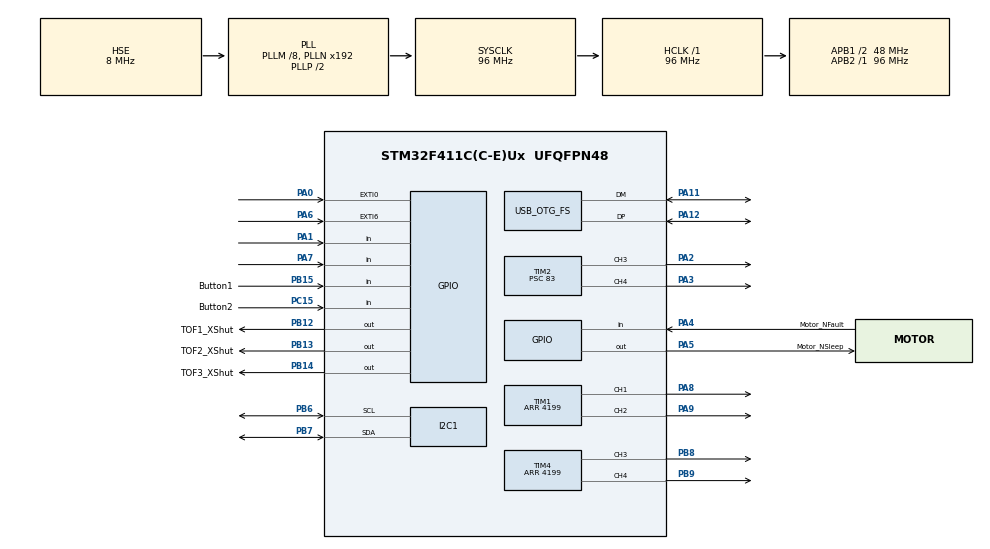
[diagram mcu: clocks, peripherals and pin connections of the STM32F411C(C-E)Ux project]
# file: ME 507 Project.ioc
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I2C1.I2C_Mode=I2C_Fast
Mcu.Family=STM32F4
Mcu.Name=STM32F411C(C-E)Ux
Mcu.Package=UFQFPN48
NVIC.OTG_FS_IRQn=true\:0\:0\:false\:false\:true\:false\:true\:true
NVIC.PriorityGroup=NVIC_PRIORITYGROUP_4
PA0-WKUP.Signal=GPXTI0
PA1.Signal=GPIO_Input
PA11.Mode=Device_Only
PA11.Signal=USB_OTG_FS_DM
PA12.Mode=Device_Only
PA12.Signal=USB_OTG_FS_DP
PA13.GPIO_Label=SWDIO
PA13.Mode=Serial_Wire
PA13.Signal=SYS_JTMS-SWDIO
PA14.GPIO_Label=SWCLK
PA14.Mode=Serial_Wire
PA14.Signal=SYS_JTCK-SWCLK
PA2.Signal=S_TIM2_CH3
PA3.Signal=S_TIM2_CH4
PA4.GPIO_Label=Motor_NFault
PA4.GPIO_PuPd=GPIO_PULLUP
PA4.Signal=GPIO_Input
PA5.GPIO_Label=Motor_NSleep
PA5.PinState=GPIO_PIN_SET
PA5.Signal=GPIO_Output
PA6.Signal=GPXTI6
PA7.Signal=GPIO_Input
PA8.Signal=S_TIM1_CH1
PA9.Signal=S_TIM1_CH2
PB12.GPIO_Label=TOF1_XShut
PB12.Signal=GPIO_Output
PB13.GPIO_Label=TOF2_XShut
PB13.Signal=GPIO_Output
PB14.GPIO_Label=TOF3_XShut
PB14.Signal=GPIO_Output
PB15.GPIO_Label=Button1
PB15.GPIO_PuPd=GPIO_PULLUP
PB15.Signal=GPIO_Input
PB6.Mode=I2C
PB6.Signal=I2C1_SCL
PB7.Mode=I2C
PB7.Signal=I2C1_SDA
PB8.Signal=S_TIM4_CH3
PB9.Signal=S_TIM4_CH4
PC15-OSC32_OUT.GPIO_Label=Button2
PC15-OSC32_OUT.GPIO_PuPd=GPIO_PULLUP
PC15-OSC32_OUT.Signal=GPIO_Input
PH0\ -\ OSC_IN.Mode=HSE-External-Oscillator
PH0\ -\ OSC_IN.Signal=RCC_OSC_IN
PH1\ -\ OSC_OUT.Mode=HSE-External-Oscillator
PH1\ -\ OSC_OUT.Signal=RCC_OSC_OUT
ProjectManager.HeapSize=0x200
ProjectManager.StackSize=0x400
ProjectManager.TargetToolchain=STM32CubeIDE
RCC.48MHZClocksFreq_Value=48000000
RCC.AHBFreq_Value=96000000
RCC.APB1CLKDivider=RCC_HCLK_DIV2
RCC.APB1Freq_Value=48000000
RCC.APB1TimFreq_Value=96000000
RCC.APB2Freq_Value=96000000
RCC.APB2TimFreq_Value=96000000
RCC.CortexFreq_Value=96000000
RCC.HCLKFreq_Value=96000000
RCC.HSE_VALUE=8000000
RCC.HSI_VALUE=16000000
RCC.LSE_VALUE=32768
RCC.PLLM=8
RCC.SYSCLKFreq_VALUE=96000000
RCC.SYSCLKSource=RCC_SYSCLKSOURCE_PLLCLK
RCC.VCOOutputFreq_Value=192000000
SH.S_TIM1_CH1.0=TIM1_CH1,PWM Generation1 CH1
SH.S_TIM1_CH2.0=TIM1_CH2,PWM Generation2 CH2
SH.S_TIM2_CH3.0=TIM2_CH3,PWM Generation3 CH3
SH.S_TIM2_CH4.0=TIM2_CH4,PWM Generation4 CH4
SH.S_TIM4_CH3.0=TIM4_CH3,PWM Generation3 CH3
SH.S_TIM4_CH4.0=TIM4_CH4,PWM Generation4 CH4
TIM1.AutoReloadPreload=TIM_AUTORELOAD_PRELOAD_ENABLE
TIM1.Channel-PWM\ Generation1\ CH1=TIM_CHANNEL_1
TIM1.Channel-PWM\ Generation2\ CH2=TIM_CHANNEL_2
TIM1.Period=4199
TIM2.AutoReloadPreload=TIM_AUTORELOAD_PRELOAD_ENABLE
TIM2.Channel-PWM\ Generation3\ CH3=TIM_CHANNEL_3
TIM2.Channel-PWM\ Generation4\ CH4=TIM_CHANNEL_4
TIM2.Period=19999
TIM2.Prescaler=83
TIM2.Pulse-PWM\ Generation3\ CH3=1500
TIM2.Pulse-PWM\ Generation4\ CH4=1500
TIM4.AutoReloadPreload=TIM_AUTORELOAD_PRELOAD_ENABLE
TIM4.Channel-PWM\ Generation3\ CH3=TIM_CHANNEL_3
TIM4.Channel-PWM\ Generation4\ CH4=TIM_CHANNEL_4
TIM4.Period=4199
USB_DEVICE.CLASS_NAME_FS=CDC
USB_DEVICE.VirtualMode=Cdc
USB_DEVICE.VirtualModeFS=Cdc_FS
USB_OTG_FS.VirtualMode=Device_Only
VP_USB_DEVICE_VS_USB_DEVICE_CDC_FS.Mode=CDC_FS
board=custom

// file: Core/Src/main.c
/* USER CODE BEGIN Header */
/**
  ******************************************************************************
  * @file           : main.c
  * @brief          : Main program body
  ******************************************************************************
  */
/* USER CODE END Header */

#include "main.h"
#include "usb_device.h"

/* USER CODE BEGIN Includes */
#include "motor.h"
#include "servo.h"
#include "usbd_cdc_if.h"
#include "task_distance.h"
#include "usb_print.h"
#include "screen.h"
#include "servo.h"

#include <string.h>
#include <stdio.h>
#include <stdarg.h>
/* USER CODE END Includes */

/* USER CODE BEGIN PD */

#define ENABLE_MOTOR_SERVO_INIT 0

/* USER CODE END PD */

I2C_HandleTypeDef hi2c1;

TIM_HandleTypeDef htim1;
TIM_HandleTypeDef htim2;
TIM_HandleTypeDef htim4;

/* USER CODE BEGIN PV */

static motor_t left_motor =
{
    .timer = &htim1,
    .channel1 = TIM_CHANNEL_1,
    .channel2 = TIM_CHANNEL_2,
    .pwm_max = 4199
};

static motor_t right_motor =
{
    .timer = &htim4,
    .channel1 = TIM_CHANNEL_3,
    .channel2 = TIM_CHANNEL_4,
    .pwm_max = 4199
};

static Servo_t left_servo =
{
    .htim = &htim2,
    .channel = TIM_CHANNEL_3,
    .angle = 90
};

static Servo_t right_servo =
{
    .htim = &htim2,
    .channel = TIM_CHANNEL_4,
    .angle = 90
};

volatile int32_t left_encoder_count = 0;
volatile int32_t right_encoder_count = 0;

/* USER CODE END PV */

void SystemClock_Config(void);
static void MX_GPIO_Init(void);
static void MX_I2C1_Init(void);
static void MX_TIM1_Init(void);
static void MX_TIM2_Init(void);
static void MX_TIM4_Init(void);
/* USER CODE BEGIN PFP */
static void Debug_XSHUT_GPIO_After_USB_Start(void);
/* USER CODE END PFP */

/* USER CODE BEGIN 0 */

static void Debug_XSHUT_GPIO_After_USB_Start(void)
{
    HAL_GPIO_WritePin(TOF1_XShut_GPIO_Port, TOF1_XShut_Pin, GPIO_PIN_RESET);
    HAL_GPIO_WritePin(TOF2_XShut_GPIO_Port, TOF2_XShut_Pin, GPIO_PIN_RESET);
    HAL_Delay(100);

    USB_Printf("XSHUT low readback: TOF1=%d TOF2=%d\r\n",
               HAL_GPIO_ReadPin(TOF1_XShut_GPIO_Port, TOF1_XShut_Pin),
               HAL_GPIO_ReadPin(TOF2_XShut_GPIO_Port, TOF2_XShut_Pin));

    HAL_GPIO_WritePin(TOF1_XShut_GPIO_Port, TOF1_XShut_Pin, GPIO_PIN_SET);
    HAL_GPIO_WritePin(TOF2_XShut_GPIO_Port, TOF2_XShut_Pin, GPIO_PIN_SET);
    HAL_Delay(100);

    USB_Printf("XSHUT high readback: TOF1=%d TOF2=%d\r\n",
               HAL_GPIO_ReadPin(TOF1_XShut_GPIO_Port, TOF1_XShut_Pin),
               HAL_GPIO_ReadPin(TOF2_XShut_GPIO_Port, TOF2_XShut_Pin));

    HAL_GPIO_WritePin(TOF1_XShut_GPIO_Port, TOF1_XShut_Pin, GPIO_PIN_RESET);
    HAL_GPIO_WritePin(TOF2_XShut_GPIO_Port, TOF2_XShut_Pin, GPIO_PIN_RESET);
    HAL_Delay(150);
}

/**
 * @brief Runs sleep mode behavior.
 *
 * Stops normal interaction by showing sleeping eyes and lowering the llama ears.
 */
static void mode_sleep(void)
{
	screen_AnimateSleepEyes();
	Servo_Ears_Down(&left_servo, &right_servo);

}

/**
 * @brief Runs pet mode behavior.
 *
 * Displays happy eyes and wiggles the llama ears.
 */
static void mode_pet(void)
{
	screen_AnimatePetEyes();
	Servo_WiggleEars(&left_servo, &right_servo);

}

/**
 * @brief Runs normal wonder mode behavior.
 *
 * Displays animated eyes and raises the llama ears.
 */
static void mode_wonder(void)
{
	screen_AnimateEyes();
	Servo_Ears_Up(&left_servo, &right_servo);

}

/**
 * @brief Runs falling or edge-detection behavior.
 *
 * Displays a scared face and raises the ears in an alert position.
 */
static void mode_falling(void)
{
	screen_AnimateScaredFace();
	Servo_Ears_Up(&left_servo, &right_servo);

}
/**
 * @brief Reads the active-low user switch with debounce.
 *
 * @return 1 if the switch is pressed, 0 otherwise.
 */
static uint8_t Switch_IsOn(void)

    if (HAL_GPIO_ReadPin(Button1_GPIO_Port, Button1_Pin) == GPIO_PIN_RESET)
    {
        HAL_Delay(20);

        if (HAL_GPIO_ReadPin(Button1_GPIO_Port, Button1_Pin) == GPIO_PIN_RESET)
        {
            return 1;
        }
    }

    return 0;
}

/* USER CODE END 0 */

#define CONTROL_DT_MS 20
#define LEFT_TARGET_CPS  250.0f
#define RIGHT_TARGET_CPS 250.0f
#define KP 1.2f
#define KI 0.08f

static float left_cmd = 50.0f;
static float right_cmd = 50.0f;
static float left_integral = 0.0f;
static float right_integral = 0.0f;

/**
 * @brief Updates closed-loop motor speed control.
 *
 * Estimates wheel speed using encoder count changes and adjusts motor PWM
 * using a PI controller.
 *
 * @param left_target_cps Desired left wheel speed in encoder counts per second.
 * @param right_target_cps Desired right wheel speed in encoder counts per second.
 */
static void Motor_ClosedLoop_Update(float left_target_cps, float right_target_cps)
    static uint32_t last_time = 0;
    static int32_t last_left_count = 0;
    static int32_t last_right_count = 0;

    uint32_t now = HAL_GetTick();

    if (last_time == 0)
    {
        last_time = now;
        last_left_count = left_encoder_count;
        last_right_count = right_encoder_count;
        return;
    }

    if (now - last_time < CONTROL_DT_MS)
        return;

    int32_t left_now = left_encoder_count;
    int32_t right_now = right_encoder_count;

    int32_t left_delta = left_now - last_left_count;
    int32_t right_delta = right_now - last_right_count;

    float dt = (now - last_time) / 1000.0f;

    float left_speed = left_delta / dt;
    float right_speed = right_delta / dt;

    float left_error = left_target_cps - left_speed;
    float right_error = right_target_cps - right_speed;

    left_integral += left_error * dt;
    right_integral += right_error * dt;

    left_cmd += KP * left_error + KI * left_integral;
    right_cmd += KP * right_error + KI * right_integral;

    if (left_cmd > 100.0f) left_cmd = 100.0f;
    if (left_cmd < -100.0f) left_cmd = -100.0f;
    if (right_cmd > 100.0f) right_cmd = 100.0f;
    if (right_cmd < -100.0f) right_cmd = -100.0f;

    Motor_Set_Duty(&left_motor, left_cmd);
    Motor_Set_Duty(&right_motor, right_cmd);

    last_left_count = left_now;
    last_right_count = right_now;
    last_time = now;
}

/**
 * @brief Resets the closed-loop motor controller.
 *
 * Clears integral terms and restores initial motor command values.
 */
static void Motor_ClosedLoop_Reset(void)
{
    left_integral = 0.0f;
    right_integral = 0.0f;
    left_cmd = 50.0f;
    right_cmd = 50.0f;
}

int main(void)
{
  HAL_Init();

  SystemClock_Config();

  MX_GPIO_Init();
  MX_I2C1_Init();
  MX_TIM1_Init();
  MX_TIM2_Init();
  MX_TIM4_Init();

  /* USER CODE BEGIN 2 */
	#if USB_DEBUG_ENABLED
	  MX_USB_DEVICE_Init();
	  HAL_Delay(1500);
	  USB_Print("\r\nUSB CDC started\r\n");
	#endif

  task_distance_initialize();

  Motor_Init(&left_motor);
  Motor_Init(&right_motor);
  Motor_Enable();

  Servo_Init(&left_servo);
  Servo_SetAngle(&left_servo, 180);
  Servo_Init(&right_servo);
  Servo_SetAngle(&right_servo, 0);

  screen_Init(&hi2c1);
  /* USER CODE END 2 */

  while (1)
  {
	    if (Switch_IsOn())
	    {
	    	mode_sleep();
	    	Motor_Set_Duty(&left_motor, 0.0f);
	    	Motor_Set_Duty(&right_motor, 0.0f);
	    	continue;
	    }
	    TOF_Measurement_t tof1_measure;
	    TOF_Measurement_t tof2_measure;

	    TOF_ReadTwo(&tof1_measure, &tof2_measure);
	    if (tof2_measure.distance_mm < 60)
	    {
	    	mode_pet();
	    	continue;
	    } else if(tof1_measure.distance_mm > 200 || tof2_measure.distance_mm > 200)
	    {
	    	mode_falling();
        Motor_ClosedLoop_Reset();
        Motor_Set_Duty(&left_motor, -100.0f);
        Motor_Set_Duty(&right_motor, 100.0f);
	    	continue;
	    }
	    mode_wonder();
      Motor_ClosedLoop_Update(LEFT_TARGET_CPS, RIGHT_TARGET_CPS);

	    HAL_Delay(10);
  }
}

void SystemClock_Config(void)
{
  RCC_OscInitTypeDef RCC_OscInitStruct = {0};
  RCC_ClkInitTypeDef RCC_ClkInitStruct = {0};

  __HAL_RCC_PWR_CLK_ENABLE();
  __HAL_PWR_VOLTAGESCALING_CONFIG(PWR_REGULATOR_VOLTAGE_SCALE1);

  RCC_OscInitStruct.OscillatorType = RCC_OSCILLATORTYPE_HSE;
  RCC_OscInitStruct.HSEState = RCC_HSE_ON;
  RCC_OscInitStruct.PLL.PLLState = RCC_PLL_ON;
  RCC_OscInitStruct.PLL.PLLSource = RCC_PLLSOURCE_HSE;
  RCC_OscInitStruct.PLL.PLLM = 8;
  RCC_OscInitStruct.PLL.PLLN = 192;
  RCC_OscInitStruct.PLL.PLLP = RCC_PLLP_DIV2;
  RCC_OscInitStruct.PLL.PLLQ = 4;
  if (HAL_RCC_OscConfig(&RCC_OscInitStruct) != HAL_OK)
  {
    Error_Handler();
  }

  RCC_ClkInitStruct.ClockType = RCC_CLOCKTYPE_HCLK | RCC_CLOCKTYPE_SYSCLK
                              | RCC_CLOCKTYPE_PCLK1 | RCC_CLOCKTYPE_PCLK2;
  RCC_ClkInitStruct.SYSCLKSource = RCC_SYSCLKSOURCE_PLLCLK;
  RCC_ClkInitStruct.AHBCLKDivider = RCC_SYSCLK_DIV1;
  RCC_ClkInitStruct.APB1CLKDivider = RCC_HCLK_DIV2;
  RCC_ClkInitStruct.APB2CLKDivider = RCC_HCLK_DIV1;

  if (HAL_RCC_ClockConfig(&RCC_ClkInitStruct, FLASH_LATENCY_3) != HAL_OK)
  {
    Error_Handler();
  }
}

static void MX_I2C1_Init(void)
{
  hi2c1.Instance = I2C1;
  hi2c1.Init.ClockSpeed = 400000;
  hi2c1.Init.DutyCycle = I2C_DUTYCYCLE_2;
  hi2c1.Init.OwnAddress1 = 0;
  hi2c1.Init.AddressingMode = I2C_ADDRESSINGMODE_7BIT;
  hi2c1.Init.DualAddressMode = I2C_DUALADDRESS_DISABLE;
  hi2c1.Init.OwnAddress2 = 0;
  hi2c1.Init.GeneralCallMode = I2C_GENERALCALL_DISABLE;
  hi2c1.Init.NoStretchMode = I2C_NOSTRETCH_DISABLE;
  if (HAL_I2C_Init(&hi2c1) != HAL_OK)
  {
    Error_Handler();
  }
}

static void MX_TIM1_Init(void)
{
  TIM_MasterConfigTypeDef sMasterConfig = {0};
  TIM_OC_InitTypeDef sConfigOC = {0};
  TIM_BreakDeadTimeConfigTypeDef sBreakDeadTimeConfig = {0};

  htim1.Instance = TIM1;
  htim1.Init.Prescaler = 0;
  htim1.Init.CounterMode = TIM_COUNTERMODE_UP;
  htim1.Init.Period = 4199;
  htim1.Init.ClockDivision = TIM_CLOCKDIVISION_DIV1;
  htim1.Init.RepetitionCounter = 0;
  htim1.Init.AutoReloadPreload = TIM_AUTORELOAD_PRELOAD_ENABLE;
  if (HAL_TIM_PWM_Init(&htim1) != HAL_OK)
  {
    Error_Handler();
  }
  sMasterConfig.MasterOutputTrigger = TIM_TRGO_RESET;
  sMasterConfig.MasterSlaveMode = TIM_MASTERSLAVEMODE_DISABLE;
  if (HAL_TIMEx_MasterConfigSynchronization(&htim1, &sMasterConfig) != HAL_OK)
  {
    Error_Handler();
  }
  sConfigOC.OCMode = TIM_OCMODE_PWM1;
  sConfigOC.Pulse = 0;
  sConfigOC.OCPolarity = TIM_OCPOLARITY_HIGH;
  sConfigOC.OCNPolarity = TIM_OCNPOLARITY_HIGH;
  sConfigOC.OCFastMode = TIM_OCFAST_DISABLE;
  sConfigOC.OCIdleState = TIM_OCIDLESTATE_RESET;
  sConfigOC.OCNIdleState = TIM_OCNIDLESTATE_RESET;
  if (HAL_TIM_PWM_ConfigChannel(&htim1, &sConfigOC, TIM_CHANNEL_1) != HAL_OK)
  {
    Error_Handler();
  }
  if (HAL_TIM_PWM_ConfigChannel(&htim1, &sConfigOC, TIM_CHANNEL_2) != HAL_OK)
  {
    Error_Handler();
  }
  sBreakDeadTimeConfig.OffStateRunMode = TIM_OSSR_DISABLE;
  sBreakDeadTimeConfig.OffStateIDLEMode = TIM_OSSI_DISABLE;
  sBreakDeadTimeConfig.LockLevel = TIM_LOCKLEVEL_OFF;
  sBreakDeadTimeConfig.DeadTime = 0;
  sBreakDeadTimeConfig.BreakState = TIM_BREAK_DISABLE;
  sBreakDeadTimeConfig.BreakPolarity = TIM_BREAKPOLARITY_HIGH;
  sBreakDeadTimeConfig.AutomaticOutput = TIM_AUTOMATICOUTPUT_DISABLE;
  if (HAL_TIMEx_ConfigBreakDeadTime(&htim1, &sBreakDeadTimeConfig) != HAL_OK)
  {
    Error_Handler();
  }
  HAL_TIM_MspPostInit(&htim1);
}

static void MX_TIM2_Init(void)
{
  TIM_MasterConfigTypeDef sMasterConfig = {0};
  TIM_OC_InitTypeDef sConfigOC = {0};

  htim2.Instance = TIM2;
  htim2.Init.Prescaler = 83;
  htim2.Init.CounterMode = TIM_COUNTERMODE_UP;
  htim2.Init.Period = 19999;
  htim2.Init.ClockDivision = TIM_CLOCKDIVISION_DIV1;
  htim2.Init.AutoReloadPreload = TIM_AUTORELOAD_PRELOAD_ENABLE;
  if (HAL_TIM_PWM_Init(&htim2) != HAL_OK)
  {
    Error_Handler();
  }
  sMasterConfig.MasterOutputTrigger = TIM_TRGO_RESET;
  sMasterConfig.MasterSlaveMode = TIM_MASTERSLAVEMODE_DISABLE;
  if (HAL_TIMEx_MasterConfigSynchronization(&htim2, &sMasterConfig) != HAL_OK)
  {
    Error_Handler();
  }
  sConfigOC.OCMode = TIM_OCMODE_PWM1;
  sConfigOC.Pulse = 1500;
  sConfigOC.OCPolarity = TIM_OCPOLARITY_HIGH;
  sConfigOC.OCFastMode = TIM_OCFAST_DISABLE;
  if (HAL_TIM_PWM_ConfigChannel(&htim2, &sConfigOC, TIM_CHANNEL_3) != HAL_OK)
  {
    Error_Handler();
  }
  if (HAL_TIM_PWM_ConfigChannel(&htim2, &sConfigOC, TIM_CHANNEL_4) != HAL_OK)
  {
    Error_Handler();
  }
  HAL_TIM_MspPostInit(&htim2);
}

static void MX_TIM4_Init(void)
{
  TIM_MasterConfigTypeDef sMasterConfig = {0};
  TIM_OC_InitTypeDef sConfigOC = {0};

  htim4.Instance = TIM4;
  htim4.Init.Prescaler = 0;
  htim4.Init.CounterMode = TIM_COUNTERMODE_UP;
  htim4.Init.Period = 4199;
  htim4.Init.ClockDivision = TIM_CLOCKDIVISION_DIV1;
  htim4.Init.AutoReloadPreload = TIM_AUTORELOAD_PRELOAD_ENABLE;
  if (HAL_TIM_PWM_Init(&htim4) != HAL_OK)
  {
    Error_Handler();
  }
  sMasterConfig.MasterOutputTrigger = TIM_TRGO_RESET;
  sMasterConfig.MasterSlaveMode = TIM_MASTERSLAVEMODE_DISABLE;
  if (HAL_TIMEx_MasterConfigSynchronization(&htim4, &sMasterConfig) != HAL_OK)
  {
    Error_Handler();
  }
  sConfigOC.OCMode = TIM_OCMODE_PWM1;
  sConfigOC.Pulse = 0;
  sConfigOC.OCPolarity = TIM_OCPOLARITY_HIGH;
  sConfigOC.OCFastMode = TIM_OCFAST_DISABLE;
  if (HAL_TIM_PWM_ConfigChannel(&htim4, &sConfigOC, TIM_CHANNEL_3) != HAL_OK)
  {
    Error_Handler();
  }
  if (HAL_TIM_PWM_ConfigChannel(&htim4, &sConfigOC, TIM_CHANNEL_4) != HAL_OK)
  {
    Error_Handler();
  }
  HAL_TIM_MspPostInit(&htim4);
}

static void MX_GPIO_Init(void)
{
  GPIO_InitTypeDef GPIO_InitStruct = {0};

  __HAL_RCC_GPIOC_CLK_ENABLE();
  __HAL_RCC_GPIOH_CLK_ENABLE();
  __HAL_RCC_GPIOA_CLK_ENABLE();
  __HAL_RCC_GPIOB_CLK_ENABLE();

  HAL_GPIO_WritePin(Motor_NSleep_GPIO_Port, Motor_NSleep_Pin, GPIO_PIN_SET);

  HAL_GPIO_WritePin(TOF1_XShut_GPIO_Port, TOF1_XShut_Pin, GPIO_PIN_RESET);
  HAL_GPIO_WritePin(TOF2_XShut_GPIO_Port, TOF2_XShut_Pin, GPIO_PIN_RESET);

  GPIO_InitStruct.Pin = Button2_Pin;
  GPIO_InitStruct.Mode = GPIO_MODE_INPUT;
  GPIO_InitStruct.Pull = GPIO_PULLUP;
  HAL_GPIO_Init(Button2_GPIO_Port, &GPIO_InitStruct);

  GPIO_InitStruct.Pin = GPIO_PIN_0 | GPIO_PIN_6;
  GPIO_InitStruct.Mode = GPIO_MODE_IT_RISING;
  GPIO_InitStruct.Pull = GPIO_PULLUP;
  HAL_GPIO_Init(GPIOA, &GPIO_InitStruct);

  GPIO_InitStruct.Pin = GPIO_PIN_1 | GPIO_PIN_7;
  GPIO_InitStruct.Mode = GPIO_MODE_INPUT;
  GPIO_InitStruct.Pull = GPIO_PULLUP;
  HAL_GPIO_Init(GPIOA, &GPIO_InitStruct);

  GPIO_InitStruct.Pin = Motor_NFault_Pin;
  GPIO_InitStruct.Mode = GPIO_MODE_INPUT;
  GPIO_InitStruct.Pull = GPIO_PULLUP;
  HAL_GPIO_Init(Motor_NFault_GPIO_Port, &GPIO_InitStruct);

  GPIO_InitStruct.Pin = Motor_NSleep_Pin;
  GPIO_InitStruct.Mode = GPIO_MODE_OUTPUT_PP;
  GPIO_InitStruct.Pull = GPIO_NOPULL;
  GPIO_InitStruct.Speed = GPIO_SPEED_FREQ_LOW;
  HAL_GPIO_Init(Motor_NSleep_GPIO_Port, &GPIO_InitStruct);

  GPIO_InitStruct.Pin = TOF1_XShut_Pin;
  GPIO_InitStruct.Mode = GPIO_MODE_OUTPUT_PP;
  GPIO_InitStruct.Pull = GPIO_NOPULL;
  GPIO_InitStruct.Speed = GPIO_SPEED_FREQ_LOW;
  HAL_GPIO_Init(TOF1_XShut_GPIO_Port, &GPIO_InitStruct);

  GPIO_InitStruct.Pin = TOF2_XShut_Pin;
  GPIO_InitStruct.Mode = GPIO_MODE_OUTPUT_PP;
  GPIO_InitStruct.Pull = GPIO_NOPULL;
  GPIO_InitStruct.Speed = GPIO_SPEED_FREQ_LOW;
  HAL_GPIO_Init(TOF2_XShut_GPIO_Port, &GPIO_InitStruct);

  GPIO_InitStruct.Pin = Button1_Pin;
  GPIO_InitStruct.Mode = GPIO_MODE_INPUT;
  GPIO_InitStruct.Pull = GPIO_PULLUP;
  HAL_GPIO_Init(Button1_GPIO_Port, &GPIO_InitStruct);

  HAL_NVIC_SetPriority(EXTI0_IRQn, 0, 0);
  HAL_NVIC_EnableIRQ(EXTI0_IRQn);

  HAL_NVIC_SetPriority(EXTI9_5_IRQn, 0, 0);
  HAL_NVIC_EnableIRQ(EXTI9_5_IRQn);
}

/* USER CODE BEGIN 4 */
void HAL_GPIO_EXTI_Callback(uint16_t GPIO_Pin)
{
    if (GPIO_Pin == GPIO_PIN_0)
    {
        if (HAL_GPIO_ReadPin(GPIOA, GPIO_PIN_1) == GPIO_PIN_SET)
        {
            left_encoder_count++;
        }
        else
        {
            left_encoder_count--;
        }
    }
    else if (GPIO_Pin == GPIO_PIN_6)
    {
        if (HAL_GPIO_ReadPin(GPIOA, GPIO_PIN_7) == GPIO_PIN_SET)
        {
            right_encoder_count++;
        }
        else
        {
            right_encoder_count--;
        }
    }
}
/* USER CODE END 4 */

void Error_Handler(void)
{
  __disable_irq();
  while (1)
  {
  }
}
